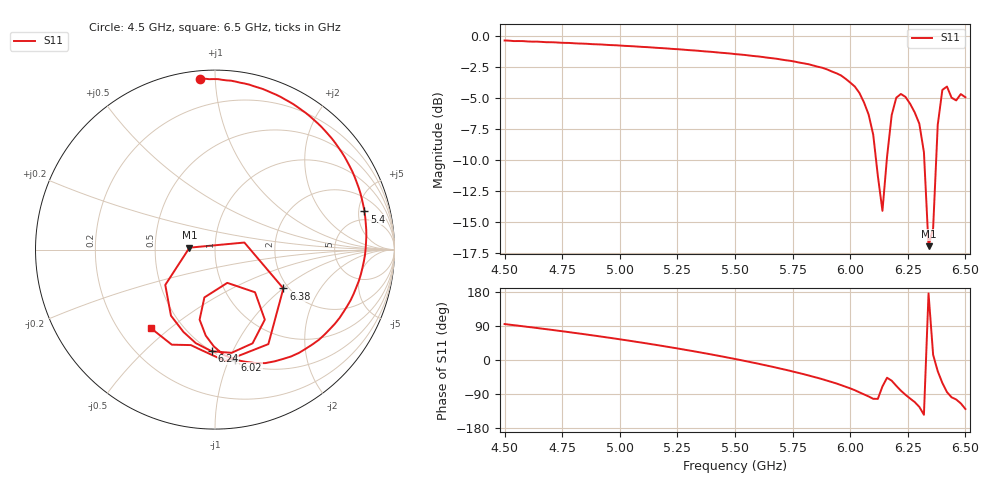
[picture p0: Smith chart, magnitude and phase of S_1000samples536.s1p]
! TOUCHSTONE file generated by CST MICROWAVE STUDIO
! Date and time: Fri Oct 28 12:20:01 2022
! Project name: L.cst
! Parameters = {Di=1.27; Epsilon_r=1.56; InnerDiameter=1.27; Length=2; Lf=10; Lg=60; OuterConductorThickness=0.2921; OuterDiameter=3.6; Wf=3; Wp=41.2; de=1.5; df=6.8; g=0.8; gx=4.27924; gy=3.94816; h=2.34; hf=1.524; px=12.1205; py=14.8431; w=9.7; wx=7.84122; wy=10.895}
! Header version: 2018
! Port assignment regex: !\s*Touchstone port\s*([0-9]+)\s*=\s*(CST MWS port|CST DS port)\s*([0-9]+|Zmin|Zmax)\s*\(\"(.*)\"\)(\s*mode\s*([0-9]+))?.*
! Touchstone port assignment:
! Touchstone port 1 = CST MWS port 1 ("")
# GHz S DB R 50
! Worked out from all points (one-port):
!   101 points, 4.5 GHz to 6.5 GHz, reference 50 ohm
!   lowest |S11| = -16.9 dB at 6.34 GHz (marker M1), VSWR 1.33, Z = 37.5 + j0.829 ohm
!   |S11| at or under -10 dB: 6.112 GHz to 6.159 GHz (46.5 MHz wide, 0.758 % of centre); 6.322 GHz to 6.373 GHz (51.52 MHz wide, 0.812 % of centre)
!   S11 on the Smith chart (normalised r, x): 4.5 GHz: 0.04, +0.92; 5.4 GHz: 3.56, +5.81; 6.02 GHz: 0.52, -1.05; 6.24 GHz: 0.50, -0.83; 6.38 GHz: 1.88, -1.01; 6.5 GHz: 0.33, -0.43
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4.5  -0.40 94.9
4.76  -0.59 75.1
5  -0.80 54.6
5.26  -1.11 29.5
5.4  -1.31 14.3
5.5  -1.49 2.7
5.76  -2.10 -31.7
5.9  -2.72 -54.6
6  -3.78 -74.8
6.02  -4.10 -79.7
6.1  -7.97 -102.4
6.12  -11.27 -102.5
6.14  -14.08 -69.7
6.16  -9.73 -46.8
6.18  -6.40 -54.6
6.2  -5.00 -68.2
6.24  -4.93 -91.8
6.26  -5.48 -101.6
6.3  -7.08 -123.7
6.32  -9.37 -144.6
6.34  -16.92 175.7
6.36  -15.47 13.5
6.38  -7.17 -29.6
6.4  -4.37 -60.5
6.42  -4.10 -84.7
6.44  -4.99 -98.4
6.48  -4.70 -114.4
6.5  -4.96 -129.3
